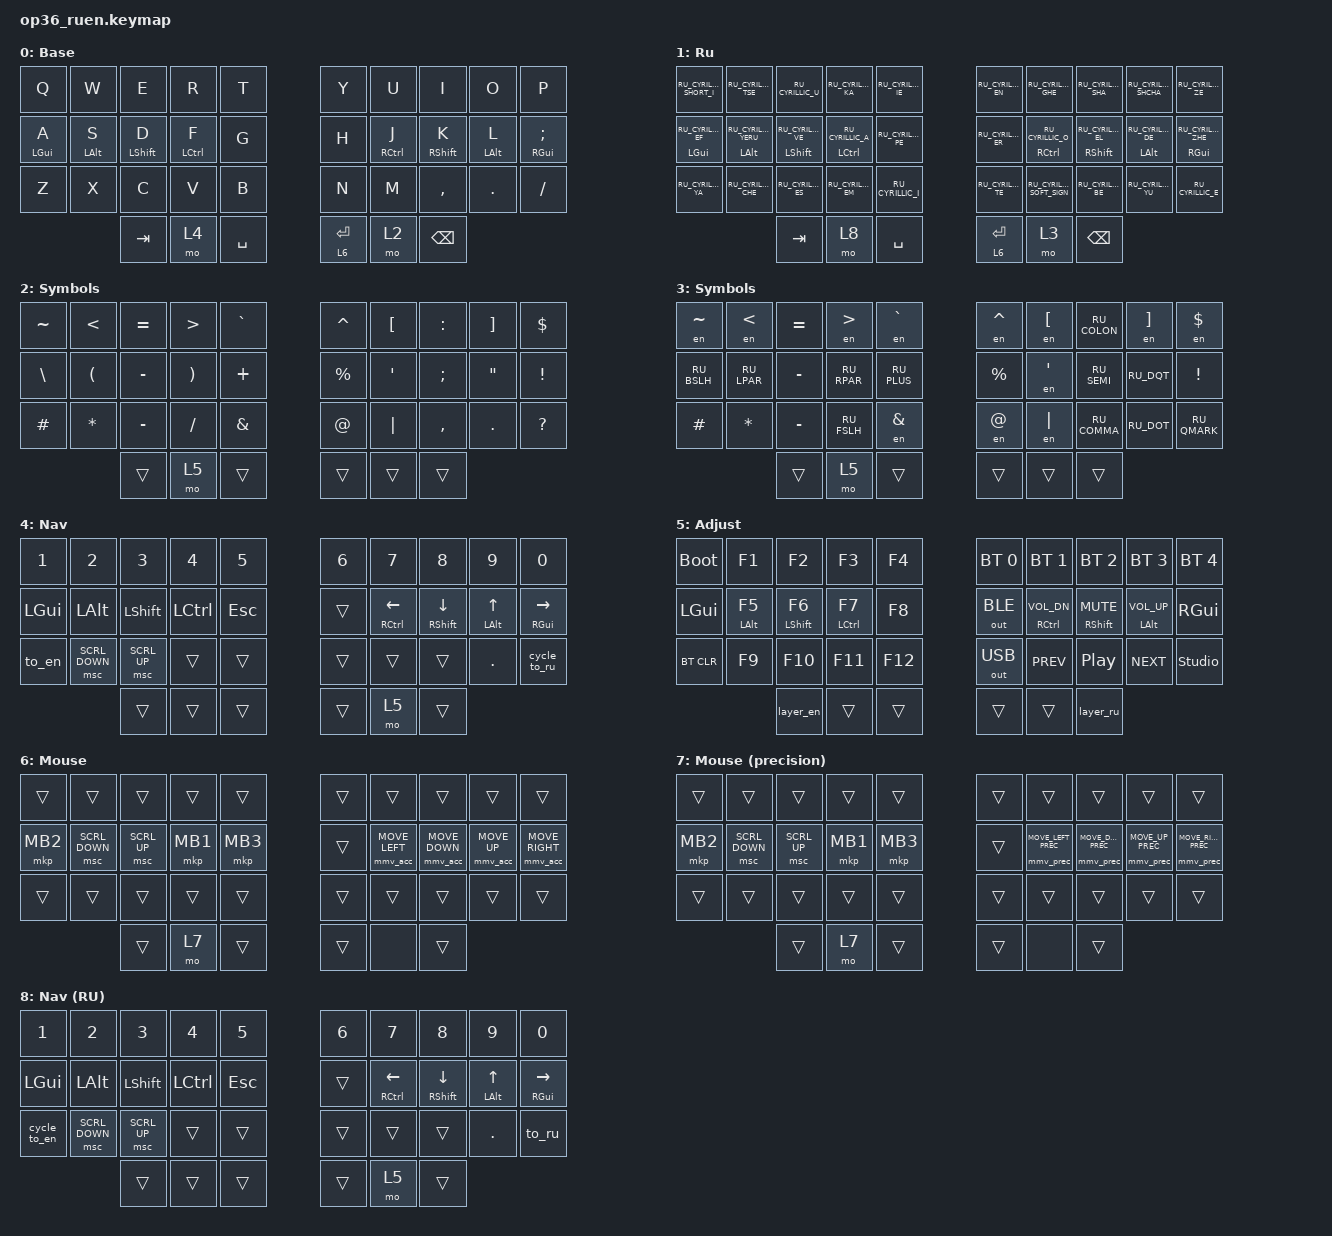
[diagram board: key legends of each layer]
#include "keys_ru.h"

// 2.5K display: raise max cursor speed (default 600). This is the DEFAULT
// (ramping) mouse speed; precision mode is derived as half of it.

#define ZMK_POINTING_DEFAULT_MOVE_VAL 1300

// Precision mouse mode: momentary layer (hold left thumb on the mouse layer).

#define MOVE_LEFT_PREC  MOVE_X(-(ZMK_POINTING_DEFAULT_MOVE_VAL / 2))
#define MOVE_RIGHT_PREC MOVE_X(ZMK_POINTING_DEFAULT_MOVE_VAL / 2)
#define MOVE_UP_PREC    MOVE_Y(-(ZMK_POINTING_DEFAULT_MOVE_VAL / 2))
#define MOVE_DOWN_PREC  MOVE_Y(ZMK_POINTING_DEFAULT_MOVE_VAL / 2)

#include <zephyr/dt-bindings/input/input-event-codes.h>
#include <behaviors.dtsi>
#include <dt-bindings/zmk/bt.h>
#include <dt-bindings/zmk/keys.h>
#include <dt-bindings/zmk/outputs.h>
#include <dt-bindings/zmk/pointing.h>

&mt {
    quick-tap-ms = <200>;
    flavor = "tap-preferred";
    require-prior-idle-ms = <125>;
};

/ {
    behaviors {
        hml: home_row_mod_left {
            compatible = "zmk,behavior-hold-tap";
            #binding-cells = <2>;
            flavor = "balanced";
            require-prior-idle-ms = <150>;
            tapping-term-ms = <280>;
            quick-tap-ms = <175>;
            bindings = <&kp>, <&kp>;

            hold-trigger-key-positions = <5 6 7 8 9 15 16 17 18 19 25 26 27 28 29 33 34 35>;
            hold-trigger-on-release;
        };

        hmr: home_row_mod_right {
            compatible = "zmk,behavior-hold-tap";
            #binding-cells = <2>;
            flavor = "balanced";
            require-prior-idle-ms = <150>;
            tapping-term-ms = <280>;
            quick-tap-ms = <175>;
            bindings = <&kp>, <&kp>;

            hold-trigger-key-positions = <0 1 2 3 4 10 11 12 13 14 20 21 22 23 24 30 31 32>;
            hold-trigger-on-release;
        };

        // Mouse-move behaviors. The mouse layer uses ramping (&mmv_acc, accel
        // exponent 2) at MOVE_* speed; holding the left thumb momentary-layers
        // the precision mode (&mmv_prec: constant speed, half of base) on top.
        // Speed lives in the binding params (v0.3.0 encodes per-axis speed there):
        // MOVE_* = ZMK_POINTING_DEFAULT_MOVE_VAL (1300), MOVE_*_PREC = 650.
        // acceleration-exponent: 0 = constant speed, 1 = linear ramp, 2 = aggressive ramp.

        mmv_acc: mmv_acc {
            compatible = "zmk,behavior-input-two-axis";
            #binding-cells = <1>;
            x-input-code = <INPUT_REL_X>;
            y-input-code = <INPUT_REL_Y>;
            time-to-max-speed-ms = <300>;
            acceleration-exponent = <2>;
        };

        mmv_prec: mmv_prec {
            compatible = "zmk,behavior-input-two-axis";
            #binding-cells = <1>;
            x-input-code = <INPUT_REL_X>;
            y-input-code = <INPUT_REL_Y>;
            time-to-max-speed-ms = <300>;
            acceleration-exponent = <0>;
        };
    };

    mmv_acc_input_listener {
        compatible = "zmk,input-listener";
        device = <&mmv_acc>;
    };

    mmv_prec_input_listener {
        compatible = "zmk,input-listener";
        device = <&mmv_prec>;
    };

    combos {
        compatible = "zmk,combos";

        // RMK combos (decoded from op36_hrm.entlayout): O+P -> Х, M+comma -> Ъ.
        // Trigger keys identified by their base-layer keycaps (Щ/З at O/P,
        // Ь/Б at M/comma) = key positions 8,9 and 26,27.

        kha {
            bindings = <&kp RU_CYRILLIC_HA>;
            key-positions = <8 9>;
            layers = <1>;
            timeout-ms = <75>;
        };

        hrdsgn {
            bindings = <&kp RU_CYRILLIC_HARD_SIGN>;
            key-positions = <26 27>;
            layers = <1>;
            timeout-ms = <75>;
        };

        // E+R language-switch combo — disabled for now. If re-enabled, bind to
        // &cycle_lang (relative cycle): a single node would then suffice, since
        // the cycle is direction-agnostic. The old absolute pair is below.
        // cmben {
        //     bindings = <&layer_en>;
        //     key-positions = <2 3>;
        //     layers = <1>;
        //     timeout-ms = <75>;
        // };
        // cmbru {
        //     bindings = <&layer_ru>;
        //     key-positions = <2 3>;
        //     layers = <0>;
        //     timeout-ms = <75>;
        // };
    };

    macros {
        // ===== Layout-switching design =====
        // Invariant kept by construction: ZMK `ru` layer ON == OS layout Russian.
        // - PRIMARY: dedicated DIRECTIONAL switch keys, one pair per language
        //   state, via two nav copies: "nav" (layer 4, held from the EN base)
        //   and "nav_ru" (layer 8, held from the RU base). The key for the
        //   OPPOSITE language cycles: Super+Space + &to N flips OS layout and
        //   ZMK base in lockstep (zero keybind config; needs exactly 2 sources).
        //   The key for the CURRENT language re-asserts (&to_en/&to_ru absolute
        //   combo — no-op on generic hosts, heals desync where keybinds exist).
        // - RECOVERY: &layer_en / &layer_ru on the adj layer outer thumbs.
        //   ABSOLUTE: force the ZMK base layer (and the OS layout where the
        //   Meta+Ctrl+1/2 shortcut is bound; harmless no-op where it is not).
        //   Use when parity is lost: after jumping to a PC already on the other
        //   layout (press the anchor matching the layout the OS shows), or after
        //   anyone switches layout via OS tray/manual Win+Space.
        // - Never change the layout from the OS side while this keyboard is the
        //   input authority — it silently breaks parity.
        //
        // to_en/to_ru: absolute OS shortcut Meta+Ctrl+1 / Meta+Ctrl+2. Digits,
        // not letters — the RU layout remaps letters (E -> Cyrillic у), which
        // breaks keysym-matched shortcuts when pressed from RU.
        //   KDE: "Switch keyboard layout to English (US)" = Meta+Ctrl+1,
        //        "...to Russian" = Meta+Ctrl+2
        //   Sway: bindsym $mod+ctrl+1 / $mod+ctrl+2 -> xkb_switch_layout 0 / 1

        to_ru: to_ru {
            compatible = "zmk,behavior-macro";
            #binding-cells = <0>;
            bindings = <&kp LG(LC(N2))>;
            label = "TO_RU";
            wait-ms = <0>;
            tap-ms = <30>;
        };

        to_en: to_en {
            compatible = "zmk,behavior-macro";
            #binding-cells = <0>;
            bindings = <&kp LG(LC(N1))>;
            label = "TO_EN";
            wait-ms = <0>;
            tap-ms = <30>;
        };

        // Directional cycle macros: flip OS layout (Super+Space) and force the
        // ZMK base via &to N. &to also clears the held nav momentary layer off
        // the stack, so the switch key never strands a layer under a held thumb.
        cycle_to_ru: cycle_to_ru {
            compatible = "zmk,behavior-macro";
            #binding-cells = <0>;
            bindings = <&kp LG(SPACE) &to 1>;
            label = "CYCLE_TO_RU";
            wait-ms = <0>;
            tap-ms = <30>;
        };

        cycle_to_en: cycle_to_en {
            compatible = "zmk,behavior-macro";
            #binding-cells = <0>;
            bindings = <&kp LG(SPACE) &to 0>;
            label = "CYCLE_TO_EN";
            wait-ms = <0>;
            tap-ms = <30>;
        };

        // Generic lockstep cycle (direction-agnostic): flips OS + ZMK together
        // via &tog. Currently unbound — reserved, e.g. for a re-enabled E+R combo
        // on layers that don't know the current base language.
        cycle_lang: cycle_lang {
            compatible = "zmk,behavior-macro";
            #binding-cells = <0>;
            bindings = <&kp LG(SPACE) &tog 1>;
            label = "CYCLE_LANG";
            wait-ms = <0>;
            tap-ms = <30>;
        };

        layer_en: layer_en {
            compatible = "zmk,behavior-macro";
            #binding-cells = <0>;
            bindings = <&to 0 &to_en>;
            label = "LAYER_EN";
            wait-ms = <0>;
            tap-ms = <30>;
        };

        layer_ru: layer_ru {
            compatible = "zmk,behavior-macro";
            #binding-cells = <0>;
            bindings = <&to 1 &to_ru>;
            label = "LAYER_RU";
            tap-ms = <30>;
            wait-ms = <0>;
        };

        // Types a symbol that the RU layout has no key for: relative-flips the
        // OS to EN (Super+Space), taps the parameter keycode on the EN layout,
        // then flips back to RU on release. ZMK layers untouched — parity holds.

        en: en {
            compatible = "zmk,behavior-macro-one-param";
            #binding-cells = <1>;
            bindings =
                <&kp LG(SPACE)>,
                <&macro_press>,
                <&macro_param_1to1 &kp MACRO_PLACEHOLDER>,
                <&macro_pause_for_release>,
                <&macro_release>,
                <&macro_param_1to1 &kp MACRO_PLACEHOLDER>,
                <&macro_tap>,
                <&kp LG(SPACE)>;

            label = "EN";
            wait-ms = <0>;
            tap-ms = <30>;
        };
    };

    keymap {
        compatible = "zmk,keymap";

        en {
            bindings = <
  &kp Q        &kp W        &kp E         &kp R         &kp T                            &kp Y  &kp U          &kp I         &kp O        &kp P
  &hml LGUI A  &hml LALT S  &hml LSHFT D  &hml LCTRL F  &kp G                            &kp H  &hmr RCTRL J   &hmr RSHFT K  &hmr LALT L  &hmr RGUI SEMICOLON
  &kp Z        &kp X        &kp C         &kp V         &kp B                            &kp N  &kp M          &kp COMMA     &kp DOT      &kp SLASH
                                          &kp TAB       &mo 4  &kp SPACE    &lt 6 ENTER  &mo 2  &kp BACKSPACE
            >;

            display-name = "Base";
        };

        ru {
            bindings = <
  &kp RU_CYRILLIC_SHORT_I   &kp RU_CYRILLIC_TSE         &kp RU_CYRILLIC_U          &kp RU_CYRILLIC_KA        &kp RU_CYRILLIC_IE                            &kp RU_CYRILLIC_EN  &kp RU_CYRILLIC_GHE        &kp RU_CYRILLIC_SHA        &kp RU_CYRILLIC_SHCHA     &kp RU_CYRILLIC_ZE
  &hml LGUI RU_CYRILLIC_EF  &hml LALT RU_CYRILLIC_YERU  &hml LSHFT RU_CYRILLIC_VE  &hml LCTRL RU_CYRILLIC_A  &kp RU_CYRILLIC_PE                            &kp RU_CYRILLIC_ER  &hmr RCTRL RU_CYRILLIC_O   &hmr RSHFT RU_CYRILLIC_EL  &hmr LALT RU_CYRILLIC_DE  &hmr RGUI RU_CYRILLIC_ZHE
  &kp RU_CYRILLIC_YA        &kp RU_CYRILLIC_CHE         &kp RU_CYRILLIC_ES         &kp RU_CYRILLIC_EM        &kp RU_CYRILLIC_I                             &kp RU_CYRILLIC_TE  &kp RU_CYRILLIC_SOFT_SIGN  &kp RU_CYRILLIC_BE         &kp RU_CYRILLIC_YU        &kp RU_CYRILLIC_E
                                                                                   &kp TAB                   &mo 8               &kp SPACE    &lt 6 ENTER  &mo 3               &kp BACKSPACE
            >;

            display-name = "Ru";
        };

        sym_en {
            bindings = <
  &kp TILDE  &kp LT    &kp EQUAL  &kp GT    &kp GRAVE                    &kp CARET  &kp LBKT  &kp COLON  &kp RBKT  &kp DLLR
  &kp BSLH   &kp LPAR  &kp MINUS  &kp RPAR  &kp PLUS                     &kp PRCNT  &kp SQT   &kp SEMI   &kp DQT   &kp EXCL
  &kp HASH   &kp STAR  &kp MINUS  &kp FSLH  &kp AMPS                     &kp AT     &kp PIPE  &kp COMMA  &kp DOT   &kp QMARK
                                  &trans    &mo 5      &trans    &trans  &trans     &trans
            >;

            display-name = "Symbols";
        };

        sym_ru {
            bindings = <
  &en TILDE    &en LT       &kp EQUAL  &en GT       &en GRAVE                      &en CARET  &en LBKT  &kp RU_COLON  &en RBKT    &en DLLR
  &kp RU_BSLH  &kp RU_LPAR  &kp MINUS  &kp RU_RPAR  &kp RU_PLUS                    &kp PRCNT  &en SQT   &kp RU_SEMI   &kp RU_DQT  &kp EXCL
  &kp HASH     &kp STAR     &kp MINUS  &kp RU_FSLH  &en AMPS                       &en AT     &en PIPE  &kp RU_COMMA  &kp RU_DOT  &kp RU_QMARK
                                       &trans       &mo 5        &trans    &trans  &trans     &trans
            >;

            display-name = "Symbols";
        };

        nav {
            bindings = <
  &kp N1       &kp N2          &kp N3        &kp N4     &kp N5                     &kp N6  &kp N7           &kp N8           &kp N9        &kp N0
  &kp LGUI     &kp LALT        &kp LSHFT     &kp LCTRL  &kp ESC                    &trans  &hmr RCTRL LEFT  &hmr RSHFT DOWN  &hmr LALT UP  &hmr RGUI RIGHT
  &to_en       &msc SCRL_DOWN  &msc SCRL_UP  &trans     &trans                     &trans  &trans           &trans           &kp PERIOD    &cycle_to_ru
                                             &trans     &trans   &trans    &trans  &mo 5   &trans
            >;

            display-name = "Nav";
        };

        adj {
            bindings = <
  &bootloader  &kp F1        &kp F2         &kp F3         &kp F4                     &bt BT_SEL 0  &bt BT_SEL 1         &bt BT_SEL 2       &bt BT_SEL 3        &bt BT_SEL 4
  &kp LGUI     &hml LALT F5  &hml LSHFT F6  &hml LCTRL F7  &kp F8                     &out OUT_BLE  &hmr RCTRL C_VOL_DN  &hmr RSHFT C_MUTE  &hmr LALT C_VOL_UP  &kp RGUI
  &bt BT_CLR   &kp F9        &kp F10        &kp F11        &kp F12                    &out OUT_USB  &kp C_PREV           &kp C_PP           &kp C_NEXT          &studio_unlock
                                            &layer_en      &trans   &trans    &trans  &trans        &layer_ru
            >;

            display-name = "Adjust";
        };

        // Default mouse layer: RAMPING movement (accel exponent 2) at speed 1000.
        // Hold left thumb (pos 31) = momentary precision mode (layer 7); release
        // = straight back to ramping. No latched states.

        mouse {
            bindings = <
  &trans    &trans          &trans        &trans    &trans                      &trans  &trans              &trans              &trans            &trans
  &mkp MB2  &msc SCRL_DOWN  &msc SCRL_UP  &mkp MB1  &mkp MB3                    &trans  &mmv_acc MOVE_LEFT  &mmv_acc MOVE_DOWN  &mmv_acc MOVE_UP  &mmv_acc MOVE_RIGHT
  &trans    &trans          &trans        &trans    &trans                      &trans  &trans              &trans              &trans            &trans
                                          &trans    &mo 7     &trans    &trans  &none   &trans
            >;

            display-name = "Mouse";
        };

        // Precision mouse mode: constant speed (500 = half of base), active only
        // while the left thumb is held (layer stacked over "mouse").

        mouse_precision {
            bindings = <
  &trans    &trans          &trans        &trans    &trans                      &trans  &trans                    &trans                    &trans                  &trans
  &mkp MB2  &msc SCRL_DOWN  &msc SCRL_UP  &mkp MB1  &mkp MB3                    &trans  &mmv_prec MOVE_LEFT_PREC  &mmv_prec MOVE_DOWN_PREC  &mmv_prec MOVE_UP_PREC  &mmv_prec MOVE_RIGHT_PREC
  &trans    &trans          &trans        &trans    &trans                      &trans  &trans                    &trans                    &trans                  &trans
                                          &trans    &mo 7     &trans    &trans  &none   &trans
            >;

            display-name = "Mouse (precision)";
        };

        // RU-state nav: copy of "nav", entered by the RU base thumb (&mo 8).
        // The two language keys swap roles: EN (pos 20) cycles back to EN,
        // RU (pos 29) re-asserts the current layout.
        nav_ru {
            bindings = <
  &kp N1       &kp N2          &kp N3        &kp N4     &kp N5                     &kp N6  &kp N7           &kp N8           &kp N9        &kp N0
  &kp LGUI     &kp LALT        &kp LSHFT     &kp LCTRL  &kp ESC                    &trans  &hmr RCTRL LEFT  &hmr RSHFT DOWN  &hmr LALT UP  &hmr RGUI RIGHT
  &cycle_to_en &msc SCRL_DOWN  &msc SCRL_UP  &trans     &trans                     &trans  &trans           &trans           &kp PERIOD    &to_ru
                                             &trans     &trans   &trans    &trans  &mo 5   &trans
            >;

            display-name = "Nav (RU)";
        };
    };
};
